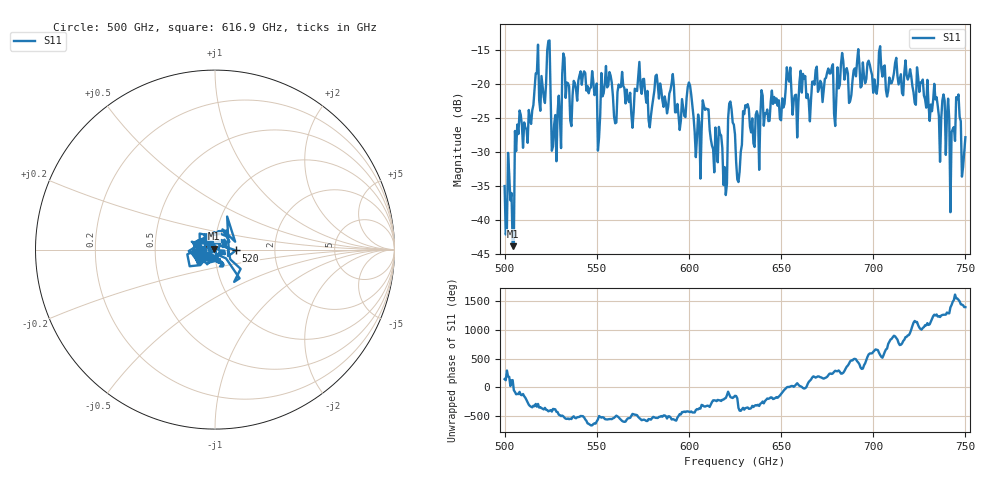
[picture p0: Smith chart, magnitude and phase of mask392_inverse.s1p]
!Created with skrf (http://scikit-rf.org).
# GHz S MA R 50.0
!freq magS11 angS11
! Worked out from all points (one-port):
!   401 points, 500 GHz to 750 GHz, reference 50 ohm
!   lowest |S11| = -43.8 dB at 504.4 GHz (marker M1), VSWR 1.01, Z = 49.6 + j0.529 ohm
!   |S11| at or under -10 dB: start of sweep to end of sweep
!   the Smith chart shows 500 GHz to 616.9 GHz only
!   S11 on the Smith chart (normalised r, x): 500 GHz: 0.97, +0.02; 520 GHz: 1.26, -0.01; 616.9 GHz: 0.94, +0.06
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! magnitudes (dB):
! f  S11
! 500 GHz  -35.0
! 504.4 GHz  -43.8
! 506.9 GHz  -25.9
! 520 GHz  -18.8
! 523.8 GHz  -13.6
! 526.9 GHz  -25.9
! 531.2 GHz  -18.5
! 542.5 GHz  -18.6
! 550.6 GHz  -29.7
! 562.5 GHz  -20.4
! 590.6 GHz  -19.8
! 593.8 GHz  -22.9
! 600 GHz  -19.7
! 605 GHz  -24.4
! 608.8 GHz  -23.8
! 616.9 GHz  -27.3
! 619.4 GHz  -32.2
! 622.5 GHz  -22.5
! 625 GHz  -27.4
! 626.9 GHz  -34.4
! 630.6 GHz  -23.1
! 634.4 GHz  -25.0
! 656.2 GHz  -24.5
! 687.5 GHz  -22.4
! 718.8 GHz  -19.3
! 743.1 GHz  -26.6
! 746.2 GHz  -21.5
! 750 GHz  -27.8
